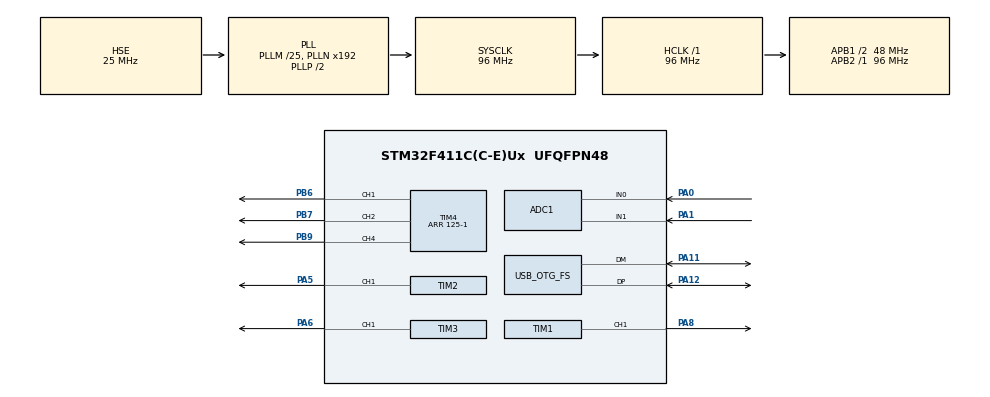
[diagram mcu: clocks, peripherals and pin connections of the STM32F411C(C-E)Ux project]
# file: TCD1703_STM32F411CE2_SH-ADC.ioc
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ADC1.Channel-0\#ChannelRegularConversion=ADC_CHANNEL_0
ADC1.Channel-2\#ChannelRegularConversion=ADC_CHANNEL_1
ADC1.DMAContinuousRequests=DISABLE
ADC1.DiscontinuousConvMode=DISABLE
ADC1.ExternalTrigConv=ADC_EXTERNALTRIGCONV_T4_CC4
ADC1.ExternalTrigConvEdge=ADC_EXTERNALTRIGCONVEDGE_RISING
ADC1.NbrOfConversion=2
ADC1.NbrOfConversionFlag=1
ADC1.Rank-0\#ChannelRegularConversion=1
ADC1.Rank-2\#ChannelRegularConversion=2
ADC1.SamplingTime-0\#ChannelRegularConversion=ADC_SAMPLETIME_3CYCLES
ADC1.SamplingTime-2\#ChannelRegularConversion=ADC_SAMPLETIME_3CYCLES
ADC1.ScanConvMode=ENABLE
ADC1.master=1
Dma.ADC1.0.Direction=DMA_PERIPH_TO_MEMORY
Dma.ADC1.0.FIFOMode=DMA_FIFOMODE_DISABLE
Dma.ADC1.0.Instance=DMA2_Stream0
Dma.ADC1.0.MemDataAlignment=DMA_MDATAALIGN_HALFWORD
Dma.ADC1.0.MemInc=DMA_MINC_ENABLE
Dma.ADC1.0.Mode=DMA_CIRCULAR
Dma.ADC1.0.PeriphDataAlignment=DMA_PDATAALIGN_HALFWORD
Dma.ADC1.0.PeriphInc=DMA_PINC_DISABLE
Dma.ADC1.0.Priority=DMA_PRIORITY_VERY_HIGH
Dma.Request0=ADC1
Mcu.Family=STM32F4
Mcu.Name=STM32F411C(C-E)Ux
Mcu.Package=UFQFPN48
NVIC.DMA2_Stream0_IRQn=true\:0\:0\:false\:false\:true\:false\:true\:true
NVIC.OTG_FS_IRQn=true\:0\:0\:false\:false\:true\:false\:true\:true
NVIC.PriorityGroup=NVIC_PRIORITYGROUP_4
NVIC.TIM1_UP_TIM10_IRQn=true\:0\:0\:false\:false\:true\:true\:true\:true
PA0-WKUP.Signal=ADCx_IN0
PA1.Signal=ADCx_IN1
PA11.Mode=Device_Only
PA11.Signal=USB_OTG_FS_DM
PA12.Mode=Device_Only
PA12.Signal=USB_OTG_FS_DP
PA5.Signal=S_TIM2_CH1_ETR
PA6.Signal=S_TIM3_CH1
PA8.Signal=S_TIM1_CH1
PB6.Signal=S_TIM4_CH1
PB7.Signal=S_TIM4_CH2
PB9.Signal=S_TIM4_CH4
PH0\ -\ OSC_IN.Mode=HSE-External-Oscillator
PH0\ -\ OSC_IN.Signal=RCC_OSC_IN
PH1\ -\ OSC_OUT.Mode=HSE-External-Oscillator
PH1\ -\ OSC_OUT.Signal=RCC_OSC_OUT
ProjectManager.HeapSize=0x200
ProjectManager.StackSize=0x400
ProjectManager.TargetToolchain=STM32CubeIDE
RCC.48MHZClocksFreq_Value=48000000
RCC.AHBFreq_Value=96000000
RCC.APB1CLKDivider=RCC_HCLK_DIV2
RCC.APB1Freq_Value=48000000
RCC.APB1TimFreq_Value=96000000
RCC.APB2Freq_Value=96000000
RCC.APB2TimFreq_Value=96000000
RCC.CortexFreq_Value=96000000
RCC.HCLKFreq_Value=96000000
RCC.HSE_VALUE=25000000
RCC.HSI_VALUE=16000000
RCC.LSE_VALUE=32768
RCC.PLLM=25
RCC.SYSCLKFreq_VALUE=96000000
RCC.SYSCLKSource=RCC_SYSCLKSOURCE_PLLCLK
RCC.VCOOutputFreq_Value=192000000
SH.ADCx_IN0.0=ADC1_IN0,IN0
SH.ADCx_IN1.0=ADC1_IN1,IN1
SH.S_TIM1_CH1.0=TIM1_CH1,PWM Generation1 CH1
SH.S_TIM2_CH1_ETR.0=TIM2_CH1,PWM Generation1 CH1
SH.S_TIM3_CH1.0=TIM3_CH1,PWM Generation1 CH1
SH.S_TIM4_CH1.0=TIM4_CH1,PWM Generation1 CH1
SH.S_TIM4_CH2.0=TIM4_CH2,PWM Generation2 CH2
SH.S_TIM4_CH4.0=TIM4_CH4,PWM Generation4 CH4
TIM1.Channel-PWM\ Generation1\ CH1=TIM_CHANNEL_1
TIM1.Period=5000-1
TIM1.Prescaler=96-1
TIM1.Pulse-PWM\ Generation1\ CH1=10-1
TIM1.TIM_MasterOutputTrigger=TIM_TRGO_RESET
TIM1.TIM_MasterSlaveMode=TIM_MASTERSLAVEMODE_DISABLE
TIM2.Channel-PWM\ Generation1\ CH1=TIM_CHANNEL_1
TIM2.Period=125-1
TIM2.Pulse-PWM\ Generation1\ CH1=9-1
TIM2.TIM_MasterOutputTrigger=TIM_TRGO_OC2REF
TIM2.TIM_MasterSlaveMode=TIM_MASTERSLAVEMODE_DISABLE
TIM3.Channel-PWM\ Generation1\ CH1=TIM_CHANNEL_1
TIM3.Period=125-1
TIM3.Pulse-PWM\ Generation1\ CH1=9-1
TIM3.TIM_MasterOutputTrigger=TIM_TRGO_OC2REF
TIM3.TIM_MasterSlaveMode=TIM_MASTERSLAVEMODE_DISABLE
TIM4.Channel-PWM\ Generation1\ CH1=TIM_CHANNEL_1
TIM4.Channel-PWM\ Generation2\ CH2=TIM_CHANNEL_2
TIM4.Channel-PWM\ Generation4\ CH4=TIM_CHANNEL_4
TIM4.OCPolarity_1=TIM_OCPOLARITY_LOW
TIM4.OCPolarity_4=TIM_OCPOLARITY_LOW
TIM4.Period=125-1
TIM4.Pulse-PWM\ Generation1\ CH1=15-1
TIM4.Pulse-PWM\ Generation2\ CH2=15-1
TIM4.Pulse-PWM\ Generation4\ CH4=25-1
TIM4.TIM_MasterOutputTrigger=TIM_TRGO_RESET
TIM4.TIM_MasterSlaveMode=TIM_MASTERSLAVEMODE_DISABLE
USB_DEVICE.CLASS_NAME_FS=CDC
USB_DEVICE.VirtualMode=Cdc
USB_DEVICE.VirtualModeFS=Cdc_FS
USB_OTG_FS.VirtualMode=Device_Only
VP_TIM1_VS_ClockSourceINT.Mode=Internal
VP_TIM2_VS_ClockSourceINT.Mode=Internal
VP_TIM3_VS_ClockSourceINT.Mode=Internal
VP_TIM4_VS_ClockSourceINT.Mode=Internal
VP_USB_DEVICE_VS_USB_DEVICE_CDC_FS.Mode=CDC_FS
board=custom

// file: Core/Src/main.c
/* USER CODE BEGIN Header */
/**
  ******************************************************************************
  * @file           : main.c
  * @brief          : Main program body
  ******************************************************************************
  * @attention
  *
  * <h2><center>&copy; Copyright (c) 2025 STMicroelectronics.
  * All rights reserved.</center></h2>
  *
  * This software component is licensed by ST under BSD 3-Clause license,
  * the "License"; You may not use this file except in compliance with the
  * License. You may obtain a copy of the License at:
  *                        opensource.org/licenses/BSD-3-Clause
  *
  ******************************************************************************
  ******************************************************************************
  * https://www.curiousscientist.tech/blog/tcd1703-linear-ccd-driving-and-reading
  * Join my channel to support my work: https://www.youtube.com/channel/UCKp1MzuAceJnDqAvsZl_46g/join
  ******************************************************************************
  ******************************************************************************
  *
*/

/* USER CODE END Header */
#include "main.h"
#include "usb_device.h"

/* USER CODE BEGIN PD */
#define CCDSize 7644 //TCD1703
/* USER CODE END PD */

ADC_HandleTypeDef hadc1;
DMA_HandleTypeDef hdma_adc1;

TIM_HandleTypeDef htim1;
TIM_HandleTypeDef htim2;
TIM_HandleTypeDef htim3;
TIM_HandleTypeDef htim4;

void SystemClock_Config(void);
static void MX_GPIO_Init(void);
static void MX_TIM1_Init(void);
static void MX_TIM2_Init(void);
static void MX_TIM3_Init(void);
static void MX_TIM4_Init(void);
static void MX_DMA_Init(void);
static void MX_ADC1_Init(void);

/* USER CODE BEGIN 0 */
volatile uint16_t CCDDataBuffer[CCDSize]; //CCD frame buffer
uint8_t usbSendBuffer[CCDSize * 2]; //7644 samples * 2 bytes
uint8_t commandReceived; //Command received flag for USB
uint8_t buffer[64]; //Buffer that stores the received command (character, and occasionally a few digits)
uint8_t usb_ready;  //1 = ready to send

/* USER CODE END 0 */

int main(void)
{

  /* MCU Configuration--------------------------------------------------------*/

  /* Reset of all peripherals, Initializes the Flash interface and the Systick. */
  HAL_Init();

  /* Configure the system clock */
  SystemClock_Config();

  /* Initialize all configured peripherals */
  MX_GPIO_Init();
  MX_TIM1_Init();
  MX_TIM2_Init();
  MX_TIM3_Init();
  MX_TIM4_Init();
  MX_DMA_Init();
  MX_ADC1_Init();
  MX_USB_DEVICE_Init();
  /* USER CODE BEGIN 2 */

  DWT_Init(); //Start the nanosecond delay timer

  /* USER CODE END 2 */

  /* Infinite loop */
  /* USER CODE BEGIN WHILE */
  while (1)
  {
	  checkUSBCommunication();

    /* USER CODE END WHILE */

  }
}

void SystemClock_Config(void)
{
  RCC_OscInitTypeDef RCC_OscInitStruct = {0};
  RCC_ClkInitTypeDef RCC_ClkInitStruct = {0};

  /** Configure the main internal regulator output voltage
  */
  __HAL_RCC_PWR_CLK_ENABLE();
  __HAL_PWR_VOLTAGESCALING_CONFIG(PWR_REGULATOR_VOLTAGE_SCALE1);
  /** Initializes the RCC Oscillators according to the specified parameters
  * in the RCC_OscInitTypeDef structure.
  */
  RCC_OscInitStruct.OscillatorType = RCC_OSCILLATORTYPE_HSE;
  RCC_OscInitStruct.HSEState = RCC_HSE_ON;
  RCC_OscInitStruct.PLL.PLLState = RCC_PLL_ON;
  RCC_OscInitStruct.PLL.PLLSource = RCC_PLLSOURCE_HSE;
  RCC_OscInitStruct.PLL.PLLM = 25;
  RCC_OscInitStruct.PLL.PLLN = 192;
  RCC_OscInitStruct.PLL.PLLP = RCC_PLLP_DIV2;
  RCC_OscInitStruct.PLL.PLLQ = 4;
  if (HAL_RCC_OscConfig(&RCC_OscInitStruct) != HAL_OK)
  {
    Error_Handler();
  }
  /** Initializes the CPU, AHB and APB buses clocks
  */
  RCC_ClkInitStruct.ClockType = RCC_CLOCKTYPE_HCLK|RCC_CLOCKTYPE_SYSCLK
                              |RCC_CLOCKTYPE_PCLK1|RCC_CLOCKTYPE_PCLK2;
  RCC_ClkInitStruct.SYSCLKSource = RCC_SYSCLKSOURCE_PLLCLK;
  RCC_ClkInitStruct.AHBCLKDivider = RCC_SYSCLK_DIV1;
  RCC_ClkInitStruct.APB1CLKDivider = RCC_HCLK_DIV2;
  RCC_ClkInitStruct.APB2CLKDivider = RCC_HCLK_DIV1;

  if (HAL_RCC_ClockConfig(&RCC_ClkInitStruct, FLASH_LATENCY_3) != HAL_OK)
  {
    Error_Handler();
  }
}

static void MX_ADC1_Init(void)
{

  ADC_ChannelConfTypeDef sConfig = {0};

  /** Configure the global features of the ADC (Clock, Resolution, Data Alignment and number of conversion)
  */
  hadc1.Instance = ADC1;
  hadc1.Init.ClockPrescaler = ADC_CLOCK_SYNC_PCLK_DIV4;
  hadc1.Init.Resolution = ADC_RESOLUTION_12B;
  hadc1.Init.ScanConvMode = ENABLE;
  hadc1.Init.ContinuousConvMode = DISABLE;
  hadc1.Init.DiscontinuousConvMode = DISABLE;
  hadc1.Init.ExternalTrigConvEdge = ADC_EXTERNALTRIGCONVEDGE_RISING;
  hadc1.Init.ExternalTrigConv = ADC_EXTERNALTRIGCONV_T4_CC4;
  hadc1.Init.DataAlign = ADC_DATAALIGN_RIGHT;
  hadc1.Init.NbrOfConversion = 2;
  hadc1.Init.DMAContinuousRequests = DISABLE;
  hadc1.Init.EOCSelection = ADC_EOC_SINGLE_CONV;
  if (HAL_ADC_Init(&hadc1) != HAL_OK)
  {
    Error_Handler();
  }
  /** Configure for the selected ADC regular channel its corresponding rank in the sequencer and its sample time.
  */
  sConfig.Channel = ADC_CHANNEL_0;
  sConfig.Rank = 1;
  sConfig.SamplingTime = ADC_SAMPLETIME_3CYCLES;
  if (HAL_ADC_ConfigChannel(&hadc1, &sConfig) != HAL_OK)
  {
    Error_Handler();
  }
  /** Configure for the selected ADC regular channel its corresponding rank in the sequencer and its sample time.
  */
  sConfig.Channel = ADC_CHANNEL_1;
  sConfig.Rank = 2;
  if (HAL_ADC_ConfigChannel(&hadc1, &sConfig) != HAL_OK)
  {
    Error_Handler();
  }

}

static void MX_TIM1_Init(void)
{

  TIM_ClockConfigTypeDef sClockSourceConfig = {0};
  TIM_MasterConfigTypeDef sMasterConfig = {0};
  TIM_OC_InitTypeDef sConfigOC = {0};
  TIM_BreakDeadTimeConfigTypeDef sBreakDeadTimeConfig = {0};

  htim1.Instance = TIM1;
  htim1.Init.Prescaler = 96-1;
  htim1.Init.CounterMode = TIM_COUNTERMODE_UP;
  htim1.Init.Period = 5000-1;
  htim1.Init.ClockDivision = TIM_CLOCKDIVISION_DIV1;
  htim1.Init.RepetitionCounter = 0;
  htim1.Init.AutoReloadPreload = TIM_AUTORELOAD_PRELOAD_DISABLE;
  if (HAL_TIM_Base_Init(&htim1) != HAL_OK)
  {
    Error_Handler();
  }
  sClockSourceConfig.ClockSource = TIM_CLOCKSOURCE_INTERNAL;
  if (HAL_TIM_ConfigClockSource(&htim1, &sClockSourceConfig) != HAL_OK)
  {
    Error_Handler();
  }
  if (HAL_TIM_PWM_Init(&htim1) != HAL_OK)
  {
    Error_Handler();
  }
  sMasterConfig.MasterOutputTrigger = TIM_TRGO_RESET;
  sMasterConfig.MasterSlaveMode = TIM_MASTERSLAVEMODE_DISABLE;
  if (HAL_TIMEx_MasterConfigSynchronization(&htim1, &sMasterConfig) != HAL_OK)
  {
    Error_Handler();
  }
  sConfigOC.OCMode = TIM_OCMODE_PWM1;
  sConfigOC.Pulse = 10-1;
  sConfigOC.OCPolarity = TIM_OCPOLARITY_HIGH;
  sConfigOC.OCNPolarity = TIM_OCNPOLARITY_HIGH;
  sConfigOC.OCFastMode = TIM_OCFAST_DISABLE;
  sConfigOC.OCIdleState = TIM_OCIDLESTATE_RESET;
  sConfigOC.OCNIdleState = TIM_OCNIDLESTATE_RESET;
  if (HAL_TIM_PWM_ConfigChannel(&htim1, &sConfigOC, TIM_CHANNEL_1) != HAL_OK)
  {
    Error_Handler();
  }
  sBreakDeadTimeConfig.OffStateRunMode = TIM_OSSR_DISABLE;
  sBreakDeadTimeConfig.OffStateIDLEMode = TIM_OSSI_DISABLE;
  sBreakDeadTimeConfig.LockLevel = TIM_LOCKLEVEL_OFF;
  sBreakDeadTimeConfig.DeadTime = 0;
  sBreakDeadTimeConfig.BreakState = TIM_BREAK_DISABLE;
  sBreakDeadTimeConfig.BreakPolarity = TIM_BREAKPOLARITY_HIGH;
  sBreakDeadTimeConfig.AutomaticOutput = TIM_AUTOMATICOUTPUT_DISABLE;
  if (HAL_TIMEx_ConfigBreakDeadTime(&htim1, &sBreakDeadTimeConfig) != HAL_OK)
  {
    Error_Handler();
  }
  HAL_TIM_MspPostInit(&htim1);

}

static void MX_TIM2_Init(void)
{

  TIM_ClockConfigTypeDef sClockSourceConfig = {0};
  TIM_MasterConfigTypeDef sMasterConfig = {0};
  TIM_OC_InitTypeDef sConfigOC = {0};

  htim2.Instance = TIM2;
  htim2.Init.Prescaler = 0;
  htim2.Init.CounterMode = TIM_COUNTERMODE_UP;
  htim2.Init.Period = 125-1;
  htim2.Init.ClockDivision = TIM_CLOCKDIVISION_DIV1;
  htim2.Init.AutoReloadPreload = TIM_AUTORELOAD_PRELOAD_DISABLE;
  if (HAL_TIM_Base_Init(&htim2) != HAL_OK)
  {
    Error_Handler();
  }
  sClockSourceConfig.ClockSource = TIM_CLOCKSOURCE_INTERNAL;
  if (HAL_TIM_ConfigClockSource(&htim2, &sClockSourceConfig) != HAL_OK)
  {
    Error_Handler();
  }
  if (HAL_TIM_PWM_Init(&htim2) != HAL_OK)
  {
    Error_Handler();
  }
  sMasterConfig.MasterOutputTrigger = TIM_TRGO_OC2REF;
  sMasterConfig.MasterSlaveMode = TIM_MASTERSLAVEMODE_DISABLE;
  if (HAL_TIMEx_MasterConfigSynchronization(&htim2, &sMasterConfig) != HAL_OK)
  {
    Error_Handler();
  }
  sConfigOC.OCMode = TIM_OCMODE_PWM1;
  sConfigOC.Pulse = 9-1;
  sConfigOC.OCPolarity = TIM_OCPOLARITY_HIGH;
  sConfigOC.OCFastMode = TIM_OCFAST_DISABLE;
  if (HAL_TIM_PWM_ConfigChannel(&htim2, &sConfigOC, TIM_CHANNEL_1) != HAL_OK)
  {
    Error_Handler();
  }
  HAL_TIM_MspPostInit(&htim2);

}

static void MX_TIM3_Init(void)
{

  TIM_ClockConfigTypeDef sClockSourceConfig = {0};
  TIM_MasterConfigTypeDef sMasterConfig = {0};
  TIM_OC_InitTypeDef sConfigOC = {0};

  htim3.Instance = TIM3;
  htim3.Init.Prescaler = 0;
  htim3.Init.CounterMode = TIM_COUNTERMODE_UP;
  htim3.Init.Period = 125-1;
  htim3.Init.ClockDivision = TIM_CLOCKDIVISION_DIV1;
  htim3.Init.AutoReloadPreload = TIM_AUTORELOAD_PRELOAD_DISABLE;
  if (HAL_TIM_Base_Init(&htim3) != HAL_OK)
  {
    Error_Handler();
  }
  sClockSourceConfig.ClockSource = TIM_CLOCKSOURCE_INTERNAL;
  if (HAL_TIM_ConfigClockSource(&htim3, &sClockSourceConfig) != HAL_OK)
  {
    Error_Handler();
  }
  if (HAL_TIM_PWM_Init(&htim3) != HAL_OK)
  {
    Error_Handler();
  }
  sMasterConfig.MasterOutputTrigger = TIM_TRGO_OC2REF;
  sMasterConfig.MasterSlaveMode = TIM_MASTERSLAVEMODE_DISABLE;
  if (HAL_TIMEx_MasterConfigSynchronization(&htim3, &sMasterConfig) != HAL_OK)
  {
    Error_Handler();
  }
  sConfigOC.OCMode = TIM_OCMODE_PWM1;
  sConfigOC.Pulse = 9-1;
  sConfigOC.OCPolarity = TIM_OCPOLARITY_HIGH;
  sConfigOC.OCFastMode = TIM_OCFAST_DISABLE;
  if (HAL_TIM_PWM_ConfigChannel(&htim3, &sConfigOC, TIM_CHANNEL_1) != HAL_OK)
  {
    Error_Handler();
  }
  HAL_TIM_MspPostInit(&htim3);

}

static void MX_TIM4_Init(void)
{

  TIM_ClockConfigTypeDef sClockSourceConfig = {0};
  TIM_MasterConfigTypeDef sMasterConfig = {0};
  TIM_OC_InitTypeDef sConfigOC = {0};

  htim4.Instance = TIM4;
  htim4.Init.Prescaler = 0;
  htim4.Init.CounterMode = TIM_COUNTERMODE_UP;
  htim4.Init.Period = 125-1;
  htim4.Init.ClockDivision = TIM_CLOCKDIVISION_DIV1;
  htim4.Init.AutoReloadPreload = TIM_AUTORELOAD_PRELOAD_DISABLE;
  if (HAL_TIM_Base_Init(&htim4) != HAL_OK)
  {
    Error_Handler();
  }
  sClockSourceConfig.ClockSource = TIM_CLOCKSOURCE_INTERNAL;
  if (HAL_TIM_ConfigClockSource(&htim4, &sClockSourceConfig) != HAL_OK)
  {
    Error_Handler();
  }
  if (HAL_TIM_PWM_Init(&htim4) != HAL_OK)
  {
    Error_Handler();
  }
  sMasterConfig.MasterOutputTrigger = TIM_TRGO_RESET;
  sMasterConfig.MasterSlaveMode = TIM_MASTERSLAVEMODE_DISABLE;
  if (HAL_TIMEx_MasterConfigSynchronization(&htim4, &sMasterConfig) != HAL_OK)
  {
    Error_Handler();
  }
  sConfigOC.OCMode = TIM_OCMODE_PWM1;
  sConfigOC.Pulse = 15-1;
  sConfigOC.OCPolarity = TIM_OCPOLARITY_LOW;
  sConfigOC.OCFastMode = TIM_OCFAST_DISABLE;
  if (HAL_TIM_PWM_ConfigChannel(&htim4, &sConfigOC, TIM_CHANNEL_1) != HAL_OK)
  {
    Error_Handler();
  }
  sConfigOC.OCPolarity = TIM_OCPOLARITY_HIGH;
  if (HAL_TIM_PWM_ConfigChannel(&htim4, &sConfigOC, TIM_CHANNEL_2) != HAL_OK)
  {
    Error_Handler();
  }
  sConfigOC.Pulse = 25-1;
  sConfigOC.OCPolarity = TIM_OCPOLARITY_LOW;
  if (HAL_TIM_PWM_ConfigChannel(&htim4, &sConfigOC, TIM_CHANNEL_4) != HAL_OK)
  {
    Error_Handler();
  }
  HAL_TIM_MspPostInit(&htim4);

}

static void MX_DMA_Init(void)
{

  /* DMA controller clock enable */
  __HAL_RCC_DMA2_CLK_ENABLE();

  /* DMA interrupt init */
  /* DMA2_Stream0_IRQn interrupt configuration */
  HAL_NVIC_SetPriority(DMA2_Stream0_IRQn, 0, 0);
  HAL_NVIC_EnableIRQ(DMA2_Stream0_IRQn);

}

static void MX_GPIO_Init(void)
{

  /* GPIO Ports Clock Enable */
  __HAL_RCC_GPIOH_CLK_ENABLE();
  __HAL_RCC_GPIOA_CLK_ENABLE();
  __HAL_RCC_GPIOB_CLK_ENABLE();

}

/* USER CODE BEGIN 4 */

void StartAcquisition(void)
{
    //ADC must start before all the clocks!
    HAL_ADC_Start_DMA(&hadc1, (uint32_t*)CCDDataBuffer, CCDSize);

    // Start SH (TIM1) first
    HAL_TIM_Base_Start_IT(&htim1);
    HAL_TIM_PWM_Start(&htim1, TIM_CHANNEL_1);

    HAL_NVIC_SetPriority(TIM1_UP_TIM10_IRQn, 0, 0);
    HAL_NVIC_EnableIRQ(TIM1_UP_TIM10_IRQn);
}

void StopAcquisition(void)
{
    //Stop everything
    HAL_ADC_Stop_DMA(&hadc1);

    HAL_TIM_PWM_Stop(&htim1, TIM_CHANNEL_1);
    HAL_TIM_Base_Stop_IT(&htim1);
    HAL_NVIC_DisableIRQ(TIM1_UP_TIM10_IRQn);  //Disable TIM1 IRQ

    HAL_TIM_PWM_Stop(&htim2, TIM_CHANNEL_1);

    HAL_TIM_PWM_Stop(&htim3, TIM_CHANNEL_1);

    HAL_TIM_PWM_Stop(&htim4, TIM_CHANNEL_1);
    HAL_TIM_PWM_Stop(&htim4, TIM_CHANNEL_2);
    HAL_TIM_OC_Stop(&htim4, TIM_CHANNEL_4);

    //Reset counters
    __HAL_TIM_SET_COUNTER(&htim1, 0);
    __HAL_TIM_SET_COUNTER(&htim2, 0);
    __HAL_TIM_SET_COUNTER(&htim3, 0);
    __HAL_TIM_SET_COUNTER(&htim4, 0);
}

void CDC_TransmitCompleteCallback()
{
    usb_ready = 1;  //Transmission finished
}

void HAL_ADC_ConvHalfCpltCallback(ADC_HandleTypeDef* hadc)
{
	//skip
}

void HAL_ADC_ConvCpltCallback(ADC_HandleTypeDef* hadc)
{
	if (usb_ready)
	{
		uint16_t* pixels = (uint16_t*)CCDDataBuffer;

		memcpy(&usbSendBuffer[0], (uint8_t*)pixels, CCDSize * 2);

		if (CDC_Transmit_FS(usbSendBuffer, sizeof(usbSendBuffer)) == USBD_OK)
		{
			usb_ready = 0;
		}
	}
}

void checkUSBCommunication()
{
	if(commandReceived == 1)
	{
		if(buffer[0] == 's') //sampling start
		{
			StartAcquisition();
		}
		if(buffer[0] == 'd') //sampling stop
		{
			StopAcquisition();
		}
		else
		{
			//skip
		}
		commandReceived = 0;
	}
}

void DWT_Init(void)
{
    CoreDebug->DEMCR |= CoreDebug_DEMCR_TRCENA_Msk;
    DWT->CYCCNT = 0;
    DWT->CTRL |= DWT_CTRL_CYCCNTENA_Msk;
}

void DWT_Delay_ns(uint32_t ns)
{
    uint32_t cycles = (SystemCoreClock / 1e9) * ns;
    uint32_t start = DWT->CYCCNT;
    while ((DWT->CYCCNT - start) < cycles);
}

void HAL_TIM_PeriodElapsedCallback(TIM_HandleTypeDef *htim)
{
    if (htim->Instance == TIM1)
    {
        //Reset counters
        __HAL_TIM_SET_COUNTER(&htim2, 0);
        __HAL_TIM_SET_COUNTER(&htim3, 0);
        __HAL_TIM_SET_COUNTER(&htim4, 0);

        //Apply timing offsets using DWT
        DWT_Delay_ns(200);
        HAL_TIM_PWM_Start(&htim2, TIM_CHANNEL_1); //RS

        DWT_Delay_ns(100);
        HAL_TIM_PWM_Start(&htim3, TIM_CHANNEL_1); //CP

        DWT_Delay_ns(200);
        HAL_TIM_PWM_Start(&htim4, TIM_CHANNEL_1); //PHI1
		HAL_TIM_PWM_Start(&htim4, TIM_CHANNEL_2); //PHI2
		HAL_TIM_OC_Start(&htim4, TIM_CHANNEL_4); //ADC trigger
    }
}

/* USER CODE END 4 */

void Error_Handler(void)
{
  __disable_irq();
  while (1)
  {
  }
}

/************************ (C) COPYRIGHT STMicroelectronics *****END OF FILE****/
